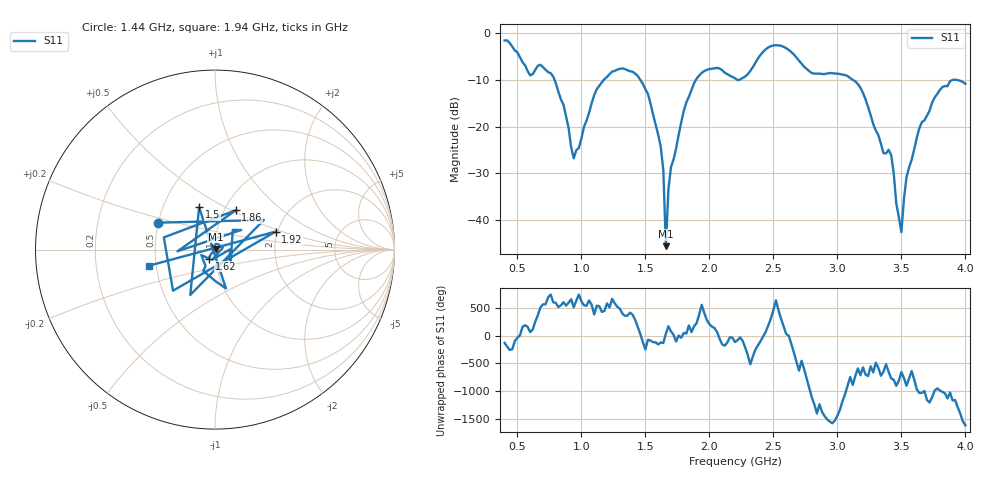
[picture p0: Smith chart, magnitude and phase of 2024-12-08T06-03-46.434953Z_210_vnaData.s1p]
!Created with skrf (http://scikit-rf.org).
# Hz S RI R 50.0
!freq ReS11 ImS11
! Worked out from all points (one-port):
!   181 points, 400 MHz to 4 GHz, reference 50 ohm
!   lowest |S11| = -45.6 dB at 1.66 GHz (marker M1), VSWR 1.01, Z = 50.4 + j0.309 ohm
!   |S11| at or under -10 dB: 790.5 MHz to 1.174 GHz (383.7 MHz wide, 39.1 % of centre); 1.461 GHz to 1.894 GHz (432.5 MHz wide, 25.8 % of centre); 3.122 GHz to 3.897 GHz (775 MHz wide, 22.1 % of centre) (the widest 3 of 5)
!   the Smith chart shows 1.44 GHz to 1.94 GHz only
!   S11 on the Smith chart (normalised r, x): 1.44 GHz: 0.50, +0.17; 1.5 GHz: 0.76, +0.38; 1.62 GHz: 0.93, -0.09; 1.86 GHz: 1.13, +0.53; 1.92 GHz: 1.96, +0.45; 1.94 GHz: 0.46, -0.10
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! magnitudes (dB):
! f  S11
! 400 MHz  -1.5
! 600 MHz  -9.0
! 760 MHz  -8.5
! 860 MHz  -15.3
! 940 MHz  -26.8
! 1.12 GHz  -12.0
! 1.3 GHz  -7.6
! 1.44 GHz  -9.1
! 1.5 GHz  -12.0
! 1.62 GHz  -24.3
! 1.64 GHz  -29.4
! 1.66 GHz  -45.6
! 1.68 GHz  -33.4
! 1.76 GHz  -21.7
! 1.86 GHz  -12.1
! 1.92 GHz  -9.0
! 1.94 GHz  -8.4
! 2.2 GHz  -9.6
! 2.48 GHz  -2.7
! 2.66 GHz  -4.5
! 3.1 GHz  -9.6
! 3.2 GHz  -12.8
! 3.36 GHz  -25.7
! 3.42 GHz  -26.1
! 3.5 GHz  -42.6
! 3.56 GHz  -28.8
! 3.76 GHz  -13.8
! 4 GHz  -10.8
